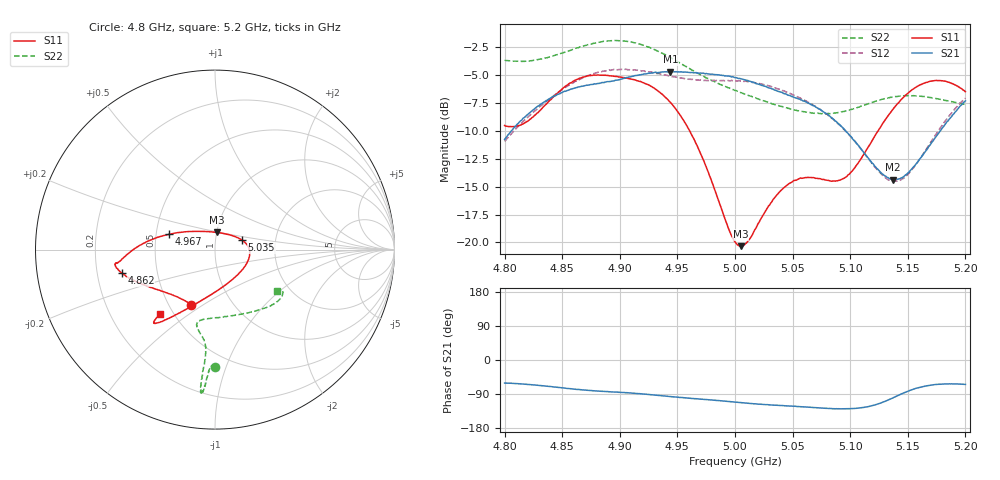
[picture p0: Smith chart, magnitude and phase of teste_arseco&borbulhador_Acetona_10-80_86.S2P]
! Network Analyzer HP8722D
! Hewlett-Packard
! Data name: Linha & Wilkinson
! Saver's name: Rodrigo Anjos
! Comments: Teste da utilização de aquisição
! continua pelo VNA HP8722D
! Time and date: 17/4/2025 15:04
!  Frequency  S11  S21  S12  S22
# HZ  S  MA R 50
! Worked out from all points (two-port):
!   401 points, 4.8 GHz to 5.2 GHz, reference 50 ohm
!   highest |S21| = -4.68 dB at 4.944 GHz (marker M1); lowest = -14.4 dB at 5.137 GHz (marker M2)
!   |S21| within 3 dB of the highest: 4.83 GHz to 5.067 GHz (236.5 MHz wide, 4.78 % of centre); 5.196451 GHz to end of sweep
!   lowest |S11| = -20.3 dB at 5.005 GHz (marker M3), VSWR 1.21, Z = 50.1 + j9.67 ohm
!   |S11| at or under -10 dB: 4.961 GHz to 5.124 GHz (163.5 MHz wide, 3.24 % of centre)
!   |S22| runs from -8.5 to -1.9 dB; largest |S21 - S12| = 0.88
!   S11 on the Smith chart (normalised r, x): 4.8 GHz: 0.64, -0.44; 4.862 GHz: 0.31, -0.11; 4.967 GHz: 0.58, +0.11; 5.035 GHz: 1.35, +0.15; 5.2 GHz: 0.42, -0.39
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4.8e9  0.3343 -113.6  0.2898 -60.9  0.2841 -175.2  0.6563 -90.1
4.819e9  0.3477 -133.5  0.371 -64.2  0.3598 -173.7  0.6511 -91.7
4.862e9  0.5362 -165.9  0.4941 -77.2  0.528 -176.9  0.7433 -93.9
4.867e9  0.5481 -167.8  0.5014 -78.7  0.5433 -177.9  0.7568 -94.1
4.9e9  0.5517 -172.4  0.5375 -85.3  0.5963 175.6  0.8027 -95.4
4.934e9  0.4746 -178.3  0.5786 -93.7  0.5723 171.7  0.7162 -95.8
4.944e9  0.4238 177.2  0.5833 -96.5  0.5563 171.8  0.675 -95.6
4.967e9  0.2723 161.8  0.5746 -102.4  0.5344 173.8  0.5755 -95.1
5e9  0.1007 101.2  0.5479 -111.1  0.5315 176.0  0.4801 -99.4
5.005e9  0.09616 83.6  0.542 -112.6  0.5289 176.1  0.4696 -100.4
5.013e9  0.104 57.7  0.5279 -114.6  0.5237 175.9  0.4534 -102.2
5.035e9  0.16 19.4  0.4814 -119.2  0.4935 174.6  0.414 -103.5
5.05e9  0.1874 4.0  0.4509 -122.0  0.4594 174.1  0.395 -99.6
5.067e9  0.1952 -14.1  0.4127 -125.1  0.4167 173.6  0.3808 -90.7
5.086e9  0.1885 -44.2  0.3549 -128.5  0.3531 173.6  0.3798 -76.2
5.097e9  0.1972 -66.7  0.3122 -128.8  0.3122 174.6  0.3895 -67.1
5.134e9  0.3768 -116.6  0.1935 -104.1  0.1901 -157.0  0.4458 -43.0
5.137e9  0.3945 -118.4  0.1911 -100.2  0.1882 -152.3  0.4489 -41.6
5.149e9  0.4617 -123.9  0.2022 -83.6  0.1993 -133.5  0.4547 -37.1
5.168e9  0.5254 -128.7  0.2679 -67.4  0.2712 -113.6  0.447 -32.3
5.184e9  0.5253 -130.3  0.3474 -63.1  0.3583 -107.3  0.4322 -31.0
5.2e9  0.474 -130.6  0.4312 -64.4  0.4432 -106.6  0.4148 -33.4
